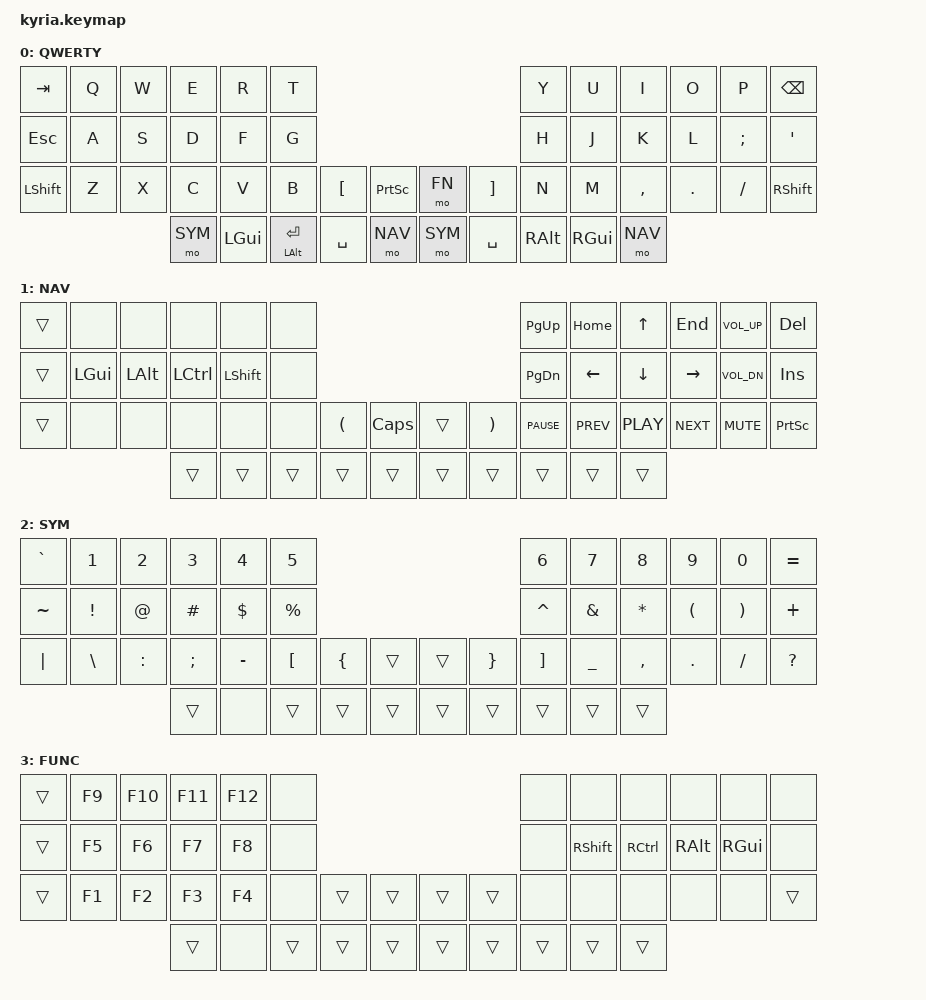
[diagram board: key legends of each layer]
/*
 * Copyright (c) 2020 The ZMK Contributors
 *
 * SPDX-License-Identifier: MIT
 */

#include <behaviors.dtsi>
#include <dt-bindings/zmk/keys.h>

#define LV_SYMBOL_CHARGE  "\xef\x81\xb9"

#define DEFAULT 0
#define NAV     1
#define SYM     2
#define FN      3

&left_encoder {
    status = "disabled";
};

&right_encoder {
    status = "disabled";
};

/ {
	keymap {
		compatible = "zmk,keymap";

		default_layer {
			label = " QWERTY";
			bindings = <
// +----------+----------+----------+----------+----------+----------+                                                 +----------+----------+----------+----------+----------+----------+
// |          |          |          |          |          |          |                                                 |          |          |          |          |          |          |
   &kp TAB    &kp Q      &kp W      &kp E      &kp R      &kp T                                                        &kp Y      &kp U      &kp I      &kp O      &kp P      &kp BSPC
   &kp ESC    &kp A      &kp S      &kp D      &kp F      &kp G                                                        &kp H      &kp J      &kp K      &kp L      &kp SEMI   &kp SQT
   &kp LSHFT  &kp Z      &kp X      &kp C      &kp V      &kp B      &kp LBKT   &kp PSCRN        &mo FN     &kp RBKT   &kp N      &kp M      &kp COMMA  &kp DOT    &kp FSLH   &kp RSHFT
// +----------+----------+----------+----------+----------+----------+----------+----------+     +----------+----------+----------+----------+----------+----------+----------+----------+
	                            &mo SYM    &kp LGUI  &mt LALT RET &kp SPC   &mo NAV          &mo SYM    &kp SPC    &kp RALT   &kp RGUI   &mo NAV
//                                  |          |          |          |          |          |     |          |          |          |          |          |
//                                  +----------+----------+----------+----------+----------+     +----------+----------+----------+----------+----------+
			>;
		};
		nav_layer {
			label = " NAV";
			bindings = <
// +----------+----------+----------+----------+----------+----------+                                                 +----------+----------+----------+----------+----------+----------+
// |          |          |          |          |          |          |                                                 |          |          |          |          |          |          |
   &trans     &none      &none      &none      &none      &none                                                        &kp PG_UP  &kp HOME   &kp UP     &kp END   &kp C_VOL_UP &kp DEL
   &trans     &kp LGUI   &kp LALT   &kp LCTL   &kp LSHFT  &none                                                        &kp PG_DN  &kp LEFT   &kp DOWN   &kp RIGHT &kp C_VOL_DN &kp INS
   &trans     &none      &none      &none      &none      &none      &kp LPAR   &kp CAPS         &trans     &kp RPAR   &kp C_PAUSE &kp C_PREV &kp C_PLAY &kp C_NEXT &kp C_MUTE &kp PSCRN
// +----------+----------+----------+----------+----------+----------+----------+----------+     +----------+----------+----------+----------+----------+----------+----------+----------+
                                    &trans     &trans     &trans     &trans     &trans           &trans     &trans     &trans     &trans     &trans
//                                  |          |          |          |          |          |     |          |          |          |          |          |
//                                  +----------+----------+----------+----------+----------+     +----------+----------+----------+----------+----------+
			>;
		};
		sym_layer {
			label = " SYM";
			bindings = <
// +----------+----------+----------+----------+----------+----------+                                                 +----------+----------+----------+----------+----------+----------+
// |          |          |          |          |          |          |                                                 |          |          |          |          |          |          |
   &kp GRAVE  &kp N1     &kp N2     &kp N3     &kp N4     &kp N5                                                       &kp N6     &kp N7     &kp N8     &kp N9     &kp N0     &kp EQUAL
   &kp TILDE  &kp EXCL   &kp AT     &kp HASH   &kp DOLLAR &kp PERCENT                                                  &kp CARET  &kp AMPS   &kp STAR   &kp LPAR   &kp RPAR   &kp PLUS
   &kp PIPE   &kp BSLH   &kp COLON  &kp SEMI   &kp MINUS  &kp LBKT   &kp LBRC   &trans           &trans     &kp RBRC   &kp RBKT   &kp UNDER  &kp COMMA  &kp DOT    &kp SLASH  &kp QMARK
// +----------+----------+----------+----------+----------+----------+----------+----------+     +----------+----------+----------+----------+----------+----------+----------+----------+
                                    &trans     &none      &trans     &trans     &trans           &trans     &trans     &trans     &trans     &trans
//                                  |          |          |          |          |          |     |          |          |          |          |          |
//                                  +----------+----------+----------+----------+----------+     +----------+----------+----------+----------+----------+
			>;
		};
		fnl_layer {
			label = " FUNC";
			bindings = <
// +----------+----------+----------+----------+----------+----------+                                                 +----------+----------+----------+----------+----------+----------+
// |          |          |          |          |          |          |                                                 |          |          |          |          |          |          |
   &trans     &kp F9     &kp F10    &kp F11    &kp F12    &none                                                        &none      &none      &none      &none      &none      &none
   &trans     &kp F5     &kp F6     &kp F7     &kp F8     &none                                                        &none      &kp RSHFT  &kp RCTL   &kp RALT   &kp RGUI   &none
   &trans     &kp F1     &kp F2     &kp F3     &kp F4     &none      &trans     &trans           &trans     &trans     &none      &none      &none      &none      &none      &trans
// +----------+----------+----------+----------+----------+----------+----------+----------+     +----------+----------+----------+----------+----------+----------+----------+----------+
                                    &trans     &none      &trans     &trans     &trans           &trans     &trans     &trans     &trans     &trans
//                                  |          |          |          |          |          |     |          |          |          |          |          |
//                                  +----------+----------+----------+----------+----------+     +----------+----------+----------+----------+----------+
			>;
		};
	};
};
